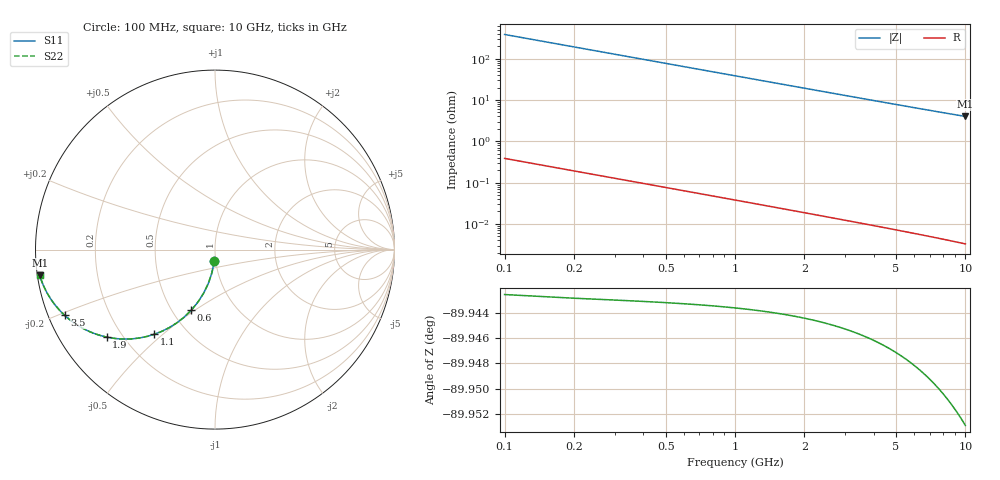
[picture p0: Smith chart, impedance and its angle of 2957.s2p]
# Hz S RI R 50.00
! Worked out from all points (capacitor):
!   100 points, 100 MHz to 10 GHz, reference 50 ohm
!   read as one part in shunt: C = 4.14 pF near 100 MHz
!   lowest |Z| = 4 ohm at 10 GHz (marker M1)
!   S11 on the Smith chart (normalised r, x): 100 MHz: 0.98, -0.13; 600 MHz: 0.62, -0.48; 1.1 GHz: 0.33, -0.47; 1.9 GHz: 0.14, -0.35; 3.5 GHz: 0.05, -0.21; 10 GHz: 0.01, -0.07
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1e8  -0.00425 -0.0647  0.9957 -0.0648  0.9957 -0.0648  -0.00425 -0.0647
2e8  -0.0167 -0.1277  0.9832 -0.128  0.9832 -0.128  -0.0167 -0.1277
3e8  -0.0368 -0.1876  0.9632 -0.188  0.9632 -0.188  -0.0368 -0.1876
4e8  -0.0635 -0.2432  0.9364 -0.2437  0.9364 -0.2437  -0.0635 -0.2432
5e8  -0.0958 -0.2935  0.9042 -0.2941  0.9042 -0.2941  -0.0958 -0.2935
6e8  -0.1322 -0.3379  0.8677 -0.3387  0.8677 -0.3387  -0.1322 -0.3379
8e8  -0.213 -0.4085  0.7869 -0.4095  0.7869 -0.4095  -0.213 -0.4085
9e8  -0.2551 -0.4349  0.7448 -0.436  0.7448 -0.436  -0.2551 -0.4349
1.1e9  -0.3383 -0.4719  0.6616 -0.4733  0.6616 -0.4733  -0.3383 -0.4719
1.4e9  -0.4528 -0.4964  0.5471 -0.4982  0.5471 -0.4982  -0.4528 -0.4964
1.8e9  -0.5775 -0.4923  0.4224 -0.4946  0.4224 -0.4946  -0.5775 -0.4923
1.9e9  -0.6036 -0.4874  0.3963 -0.4898  0.3963 -0.4898  -0.6036 -0.4874
2.2e9  -0.6711 -0.4679  0.3289 -0.4707  0.3289 -0.4707  -0.6711 -0.4679
2.6e9  -0.7401 -0.4364  0.2598 -0.4397  0.2598 -0.4397  -0.7401 -0.4364
3e9  -0.7912 -0.404  0.2088 -0.4078  0.2088 -0.4078  -0.7912 -0.404
3.4e9  -0.8295 -0.3734  0.1705 -0.3777  0.1705 -0.3777  -0.8295 -0.3734
3.5e9  -0.8375 -0.3661  0.1624 -0.3706  0.1624 -0.3706  -0.8375 -0.3661
4.2e9  -0.8812 -0.3203  0.1188 -0.3257  0.1188 -0.3257  -0.8812 -0.3203
5.1e9  -0.9161 -0.2733  0.0838 -0.2799  0.0838 -0.2799  -0.9161 -0.2733
6.7e9  -0.9496 -0.2137  0.0503 -0.2224  0.0503 -0.2224  -0.9496 -0.2137
8.4e9  -0.9674 -0.1714  0.0325 -0.1824  0.0325 -0.1824  -0.9674 -0.1714
1e10  -0.9768 -0.143  0.023 -0.1562  0.023 -0.1562  -0.9768 -0.143
